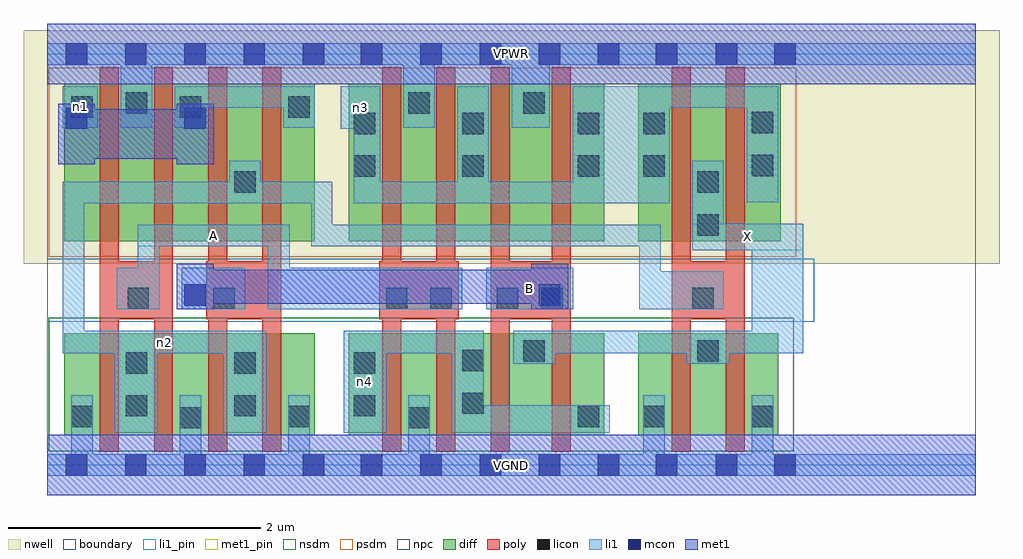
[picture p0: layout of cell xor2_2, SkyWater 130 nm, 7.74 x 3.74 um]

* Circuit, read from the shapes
.subckt xor2_2 A B VGND VPWR X n1 n2 n3 n4
XM1 n2 A VGND VSUBS sky130_fd_pr__nfet_01v8 w=0.81 l=0.15 m=2
XM2 n2 B VGND VSUBS sky130_fd_pr__nfet_01v8 w=0.81 l=0.15 m=2
XM3 VGND A n4 VSUBS sky130_fd_pr__nfet_01v8 w=0.81 l=0.15 m=2
XM4 X B n4 VSUBS sky130_fd_pr__nfet_01v8 w=0.81 l=0.15 m=2
XM5 X n2 VGND VSUBS sky130_fd_pr__nfet_01v8 w=0.81 l=0.15 m=2
XM6 VPWR A n1 n5 sky130_fd_pr__pfet_01v8 w=1.25 l=0.15 m=2
XM7 n2 B n1 n5 sky130_fd_pr__pfet_01v8 w=1.25 l=0.15 m=2
XM8 VPWR A n3 n5 sky130_fd_pr__pfet_01v8 w=1.25 l=0.15 m=2
XM9 VPWR B n3 n5 sky130_fd_pr__pfet_01v8 w=1.25 l=0.15 m=2
XM10 X n2 n3 n5 sky130_fd_pr__pfet_01v8 w=1.25 l=0.15 m=2
.ends

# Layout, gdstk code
import gdstk
lib = gdstk.Library(unit=1e-6, precision=1e-09)
def R(c, l, rs):  # rectangles x0, y0, x1, y1
    for r in rs: c.add(gdstk.rectangle(r[:2], r[2:], *l))
def A(c, l, x, y, w, h, nx, ny, dx, dy):  # array of equal rectangles
    R(c, l, [(x+i*dx, y+j*dy, x+i*dx+w, y+j*dy+h) for i in range(nx) for j in range(ny)])
nwell = (64, 20)
diff = (65, 20)
poly = (66, 20)
licon = (66, 44)
li1_pin = (67, 16)
li1 = (67, 20)
mcon = (67, 44)
met1_pin = (68, 16)
met1 = (68, 20)
nsdm = (93, 44)
psdm = (94, 20)
npc = (95, 20)
boundary = (235, 4)

xor2_2 = lib.new_cell('xor2_2')
R(xor2_2, nwell, [(-0.19,1.595,7.55,3.45), (0,1.595,7.36,3.45)])
R(xor2_2, diff, [(0.135,0.235,2.12,1.045), (2.39,0.235,4.415,1.045), (4.685,0.235,5.795,1.045), (0.135,1.775,2.12,3.025), (2.39,1.775,4.415,3.025), (4.685,1.775,5.815,3.025)])
A(xor2_2, poly, 0.415, 0.105, 0.15, 3.05, 4, 1, 0.43, 0)
A(xor2_2, poly, 2.655, 0.105, 0.15, 3.05, 3, 1, 0.43, 0)
R(xor2_2, poly, [(4,0.105,4.15,3.155), (4.95,0.105,5.1,3.155), (5.38,0.105,5.53,3.155), (0.415,1.155,0.995,1.615), (1.26,1.155,1.855,1.615), (2.63,1.155,3.26,1.615), (3.515,1.155,4.15,1.615), (4.95,1.155,5.53,1.615)])
A(xor2_2, licon, 0.19, 2.755, 0.17, 0.17, 3, 1, 0.86, 0)
R(xor2_2, licon, [(1.05,0.29,1.22,0.46), (2.86,0.29,3.03,0.46), (0.19,0.3,0.36,0.47), (1.91,0.3,2.08,0.47), (4.205,0.3,4.375,0.47), (4.725,0.3,4.895,0.47), (5.585,0.3,5.755,0.47), (0.62,0.385,0.79,0.555), (1.48,0.385,1.65,0.555), (2.43,0.385,2.6,0.555), (3.29,0.405,3.46,0.575), (0.62,0.725,0.79,0.895), (1.48,0.725,1.65,0.895), (2.43,0.725,2.6,0.895), (3.29,0.745,3.46,0.915), (3.775,0.82,3.945,0.99), (5.155,0.82,5.325,0.99), (0.635,1.235,0.805,1.405), (1.315,1.235,1.485,1.405), (2.685,1.235,2.855,1.405), (3.035,1.235,3.205,1.405), (3.565,1.235,3.735,1.405), (3.915,1.235,4.085,1.405), (5.115,1.235,5.285,1.405), (5.155,1.82,5.325,1.99), (1.48,2.16,1.65,2.33), (5.155,2.16,5.325,2.33), (2.43,2.285,2.6,2.455), (3.29,2.285,3.46,2.455), (4.205,2.285,4.375,2.455), (4.725,2.285,4.895,2.455), (5.585,2.29,5.755,2.46), (2.43,2.625,2.6,2.795), (3.29,2.625,3.46,2.795), (4.205,2.625,4.375,2.795), (4.725,2.625,4.895,2.795), (5.585,2.63,5.755,2.8), (0.62,2.785,0.79,2.955), (2.86,2.785,3.03,2.955), (3.775,2.785,3.945,2.955)])
R(xor2_2, li1_pin, [(3.48,1.235,4.17,1.565), (5.115,1.705,5.995,1.915), (0.715,1.735,1.92,1.905)])
A(xor2_2, li1, 0.19, -0.085, 0.17, 0.64, 3, 1, 0.86, 0)
R(xor2_2, li1, [(0,-0.085,7.36,0.085), (2.86,-0.085,3.03,0.555), (4.725,-0.085,4.895,0.555), (5.585,-0.085,5.755,0.555), (0.535,0.255,0.875,1.065), (1.395,0.255,1.735,1.065), (2.35,0.255,2.685,1.065), (3.205,0.255,4.46,0.475), (3.205,0.255,3.46,1.065), (3.695,0.805,4.03,1.065), (5.07,0.805,5.41,1.065), (0.12,0.885,1.735,1.065), (0.12,0.885,0.29,2.245), (2.35,0.885,3.46,1.065), (3.695,0.885,5.995,1.065), (5.585,0.885,5.995,1.915), (0.55,1.235,0.89,1.565), (0.715,1.235,0.89,1.905), (1.065,1.235,1.57,1.565), (1.745,1.235,1.92,1.905), (1.745,1.235,3.29,1.565), (3.48,1.235,4.17,1.565), (4.695,1.235,5.365,1.535), (4.695,1.235,4.865,1.905), (5.115,1.705,5.365,2.415), (5.115,1.705,5.995,1.915), (0.715,1.735,1.92,1.905), (2.09,1.735,4.865,1.905), (2.09,1.735,2.26,2.245), (0.12,2.075,2.26,2.245), (1.44,2.075,1.69,2.415), (2.43,2.075,4.935,2.245), (2.43,2.075,2.64,3.005), (3.25,2.075,3.5,3.005), (4.165,2.075,4.935,3.005), (5.545,2.085,5.795,3.005), (0.145,2.665,0.315,3.005), (1.085,2.665,1.255,3.005), (2.325,2.665,2.64,3.005), (0.12,2.675,0.4,3.005), (0.58,2.675,0.83,3.345), (1.01,2.675,1.26,3.005), (1.87,2.675,2.12,3.005), (2.82,2.675,3.07,3.345), (3.68,2.675,3.985,3.345), (1.01,2.835,2.12,3.005), (4.165,2.835,5.795,3.005), (0,3.175,7.36,3.345)])
A(xor2_2, mcon, 0.145, -0.085, 0.17, 0.17, 5, 2, 0.47, 3.26)
R(xor2_2, mcon, [(2.485,-0.085,2.655,0.085), (2.955,-0.085,3.125,0.085), (3.43,-0.085,3.6,0.085), (3.895,-0.085,4.065,0.085), (4.365,-0.085,4.535,0.085), (4.825,-0.085,4.995,0.085), (5.3,-0.085,5.47,0.085), (5.765,-0.085,5.935,0.085), (1.085,1.265,1.255,1.435), (3.895,1.265,4.065,1.435), (0.145,2.665,0.315,2.835), (1.085,2.665,1.255,2.835), (2.485,3.175,2.655,3.345), (2.955,3.175,3.125,3.345), (3.43,3.175,3.6,3.345), (3.895,3.175,4.065,3.345), (4.365,3.175,4.535,3.345), (4.825,3.175,4.995,3.345), (5.3,3.175,5.47,3.345), (5.765,3.175,5.935,3.345)])
R(xor2_2, met1_pin, [(0,-0.24,7.36,0.24), (0,3.02,7.36,3.5)])
R(xor2_2, met1, [(0,-0.24,7.36,0.24), (1.025,1.235,1.32,1.595), (3.835,1.235,4.13,1.595), (1.025,1.28,4.13,1.55), (0.085,2.385,0.375,2.865), (1.025,2.385,1.32,2.865), (0.085,2.43,1.32,2.82), (0,3.02,7.36,3.5)])
R(xor2_2, nsdm, [(0.01,0.11,5.92,1.17)])
R(xor2_2, psdm, [(0.01,1.65,5.94,3.15)])
R(xor2_2, npc, [(0,1.135,6.08,1.635)])
R(xor2_2, boundary, [(0,0,7.36,3.26)])
xor2_2.add(gdstk.Label('A', (1.317,1.82), layer=67, texttype=5))
xor2_2.add(gdstk.Label('B', (3.825,1.4), layer=67, texttype=5))
xor2_2.add(gdstk.Label('X', (5.555,1.81), layer=67, texttype=5))
xor2_2.add(gdstk.Label('n4', (2.517,0.66), layer=67, texttype=5))
xor2_2.add(gdstk.Label('n2', (0.927,0.975), layer=67, texttype=5))
xor2_2.add(gdstk.Label('n1', (0.26,2.84), layer=67, texttype=5))
xor2_2.add(gdstk.Label('n3', (2.482,2.835), layer=67, texttype=5))
xor2_2.add(gdstk.Label('VPWR', (3.68,3.26), layer=68, texttype=5))
xor2_2.add(gdstk.Label('VGND', (3.68,0), layer=68, texttype=5))
xor2_2.add(gdstk.Label('A', (1.317,1.82), layer=67, texttype=16))
xor2_2.add(gdstk.Label('B', (3.825,1.4), layer=67, texttype=16))
xor2_2.add(gdstk.Label('X', (5.555,1.81), layer=67, texttype=16))
xor2_2.add(gdstk.Label('VPWR', (3.68,3.26), layer=68, texttype=16))
xor2_2.add(gdstk.Label('VGND', (3.68,0), layer=68, texttype=16))

lib.write_gds('xor2_2.gds')
